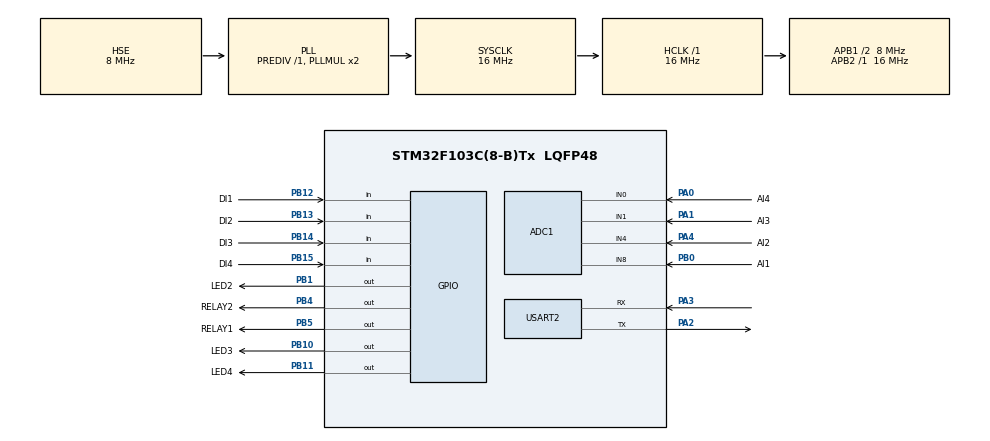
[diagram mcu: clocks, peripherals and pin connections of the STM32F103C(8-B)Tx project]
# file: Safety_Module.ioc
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ADC1.Channel-0\#ChannelRegularConversion=ADC_CHANNEL_0
ADC1.ContinuousConvMode=ENABLE
ADC1.NbrOfConversionFlag=1
ADC1.Rank-0\#ChannelRegularConversion=1
ADC1.SamplingTime-0\#ChannelRegularConversion=ADC_SAMPLETIME_1CYCLE_5
ADC1.master=1
Dma.ADC1.0.Direction=DMA_PERIPH_TO_MEMORY
Dma.ADC1.0.Instance=DMA1_Channel1
Dma.ADC1.0.MemDataAlignment=DMA_MDATAALIGN_HALFWORD
Dma.ADC1.0.MemInc=DMA_MINC_ENABLE
Dma.ADC1.0.Mode=DMA_CIRCULAR
Dma.ADC1.0.PeriphDataAlignment=DMA_PDATAALIGN_HALFWORD
Dma.ADC1.0.PeriphInc=DMA_PINC_DISABLE
Dma.ADC1.0.Priority=DMA_PRIORITY_HIGH
Dma.Request0=ADC1
FREERTOS.Tasks01=defaultTask,24,128,StartDefaultTask,Default,NULL,Dynamic,NULL,NULL;modbusTask,40,128,StartModbusTask,Default,NULL,Dynamic,NULL,NULL;ledTask,16,128,StartTask03,Default,NULL,Dynamic,NULL,NULL
Mcu.Family=STM32F1
Mcu.Name=STM32F103C(8-B)Tx
Mcu.Package=LQFP48
NVIC.DMA1_Channel1_IRQn=true\:5\:0\:false\:false\:true\:true\:false\:true\:true
NVIC.PriorityGroup=NVIC_PRIORITYGROUP_4
NVIC.RCC_IRQn=true\:5\:0\:false\:false\:true\:true\:true\:false\:true
NVIC.TIM2_IRQn=true\:5\:0\:false\:false\:true\:true\:true\:true\:true
NVIC.USART2_IRQn=true\:5\:0\:false\:false\:true\:true\:true\:true\:true
PA0-WKUP.GPIO_Label=AI4
PA0-WKUP.Signal=ADCx_IN0
PA1.GPIO_Label=AI3
PA1.Signal=ADCx_IN1
PA13.Mode=Serial_Wire
PA13.Signal=SYS_JTMS-SWDIO
PA14.Mode=Serial_Wire
PA14.Signal=SYS_JTCK-SWCLK
PA2.Mode=Asynchronous
PA2.Signal=USART2_TX
PA3.Mode=Asynchronous
PA3.Signal=USART2_RX
PA4.GPIO_Label=AI2
PA4.Signal=ADCx_IN4
PB0.GPIO_Label=AI1
PB0.Signal=ADCx_IN8
PB1.GPIO_Label=LED2
PB1.Signal=GPIO_Output
PB10.GPIO_Label=LED3
PB10.Signal=GPIO_Output
PB11.GPIO_Label=LED4
PB11.Signal=GPIO_Output
PB12.GPIO_Label=DI1
PB12.Signal=GPIO_Input
PB13.GPIO_Label=DI2
PB13.Signal=GPIO_Input
PB14.GPIO_Label=DI3
PB14.Signal=GPIO_Input
PB15.GPIO_Label=DI4
PB15.Signal=GPIO_Input
PB4.GPIO_Label=RELAY2
PB4.Signal=GPIO_Output
PB5.GPIO_Label=RELAY1
PB5.Signal=GPIO_Output
PD0-OSC_IN.Mode=HSE-External-Oscillator
PD0-OSC_IN.Signal=RCC_OSC_IN
PD1-OSC_OUT.Mode=HSE-External-Oscillator
PD1-OSC_OUT.Signal=RCC_OSC_OUT
ProjectManager.HeapSize=0x200
ProjectManager.StackSize=0x400
ProjectManager.TargetToolchain=STM32CubeIDE
RCC.AHBFreq_Value=16000000
RCC.APB1CLKDivider=RCC_HCLK_DIV2
RCC.APB1Freq_Value=8000000
RCC.APB1TimFreq_Value=16000000
RCC.APB2Freq_Value=16000000
RCC.APB2TimFreq_Value=16000000
RCC.HCLKFreq_Value=16000000
RCC.PLLSourceVirtual=RCC_PLLSOURCE_HSE
RCC.SYSCLKFreq_VALUE=16000000
RCC.SYSCLKSource=RCC_SYSCLKSOURCE_PLLCLK
RCC.USBFreq_Value=16000000
SH.ADCx_IN0.0=ADC1_IN0,IN0
SH.ADCx_IN1.0=ADC1_IN1,IN1
SH.ADCx_IN4.0=ADC1_IN4,IN4
SH.ADCx_IN8.0=ADC1_IN8,IN8
USART2.VirtualMode=VM_ASYNC
VP_FREERTOS_VS_CMSIS_V2.Mode=CMSIS_V2
VP_TIM2_VS_ClockSourceINT.Mode=Internal
board=custom

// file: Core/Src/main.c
/* USER CODE BEGIN Header */
/**
  ******************************************************************************
  * @file           : main.c
  * @brief          : Main program body
  ******************************************************************************
  * @attention
  *
  * Copyright (c) 2025 STMicroelectronics.
  * All rights reserved.
  *
  * This software is licensed under terms that can be found in the LICENSE file
  * in the root directory of this software component.
  * If no LICENSE file comes with this software, it is provided AS-IS.
  *
  ******************************************************************************
  */
/* USER CODE END Header */
#include "main.h"
#include "cmsis_os.h"

/* USER CODE BEGIN Includes */
#include "UartModbus.h"
#include "Safety_Monitor.h"
#include "ModbusMap.h"
/* USER CODE END Includes */

ADC_HandleTypeDef hadc1;
DMA_HandleTypeDef hdma_adc1;

TIM_HandleTypeDef htim2;

UART_HandleTypeDef huart2;
uint8_t current_baudrate = DEFAULT_CONFIG_BAUDRATE;
/* Definitions for defaultTask */
osThreadId_t defaultTaskHandle;
const osThreadAttr_t defaultTask_attributes = {
  .name = "defaultTask",
  .stack_size = 128 * 4,
  .priority = (osPriority_t) osPriorityNormal,
};
/* Definitions for modbusTask */
osThreadId_t modbusTaskHandle;
const osThreadAttr_t modbusTask_attributes = {
  .name = "modbusTask",
  .stack_size = 128 * 4,
  .priority = (osPriority_t) osPriorityHigh,
};
/* Definitions for ledTask */
osThreadId_t ledTaskHandle;
const osThreadAttr_t ledTask_attributes = {
  .name = "ledTask",
  .stack_size = 128 * 4,
  .priority = (osPriority_t) osPriorityBelowNormal,
};

void SystemClock_Config(void);
static void MX_GPIO_Init(void);
static void MX_DMA_Init(void);
static void MX_TIM2_Init(void);
static void MX_USART2_UART_Init(void);
static void MX_ADC1_Init(void);
void StartDefaultTask(void *argument);
void StartModbusTask(void *argument);
void StartTask03(void *argument);

int main(void)
{

  /* MCU Configuration--------------------------------------------------------*/

  /* Reset of all peripherals, Initializes the Flash interface and the Systick. */
  HAL_Init();

  /* Configure the system clock */
  SystemClock_Config();

  /* Initialize all configured peripherals */
  MX_GPIO_Init();
  MX_DMA_Init();
  MX_TIM2_Init();
  MX_USART2_UART_Init();
  MX_ADC1_Init();
  /* USER CODE BEGIN 2 */
  initializeModbusRegisters();
  Safety_Monitor_Init();
  /* USER CODE END 2 */

  /* Init scheduler */
  osKernelInitialize();

  /* Create the thread(s) */
  /* creation of defaultTask */
  defaultTaskHandle = osThreadNew(StartDefaultTask, NULL, &defaultTask_attributes);

  /* creation of modbusTask */
  modbusTaskHandle = osThreadNew(StartModbusTask, NULL, &modbusTask_attributes);

  /* creation of ledTask */
  ledTaskHandle = osThreadNew(StartTask03, NULL, &ledTask_attributes);

  /* Start scheduler */
  osKernelStart();

  /* We should never get here as control is now taken by the scheduler */

  /* Infinite loop */
  while (1)
  {

  }
}

void SystemClock_Config(void)
{
  RCC_OscInitTypeDef RCC_OscInitStruct = {0};
  RCC_ClkInitTypeDef RCC_ClkInitStruct = {0};
  RCC_PeriphCLKInitTypeDef PeriphClkInit = {0};

  /** Initializes the RCC Oscillators according to the specified parameters
  * in the RCC_OscInitTypeDef structure.
  */
  RCC_OscInitStruct.OscillatorType = RCC_OSCILLATORTYPE_HSE;
  RCC_OscInitStruct.HSEState = RCC_HSE_ON;
  RCC_OscInitStruct.HSEPredivValue = RCC_HSE_PREDIV_DIV1;
  RCC_OscInitStruct.HSIState = RCC_HSI_ON;
  RCC_OscInitStruct.PLL.PLLState = RCC_PLL_ON;
  RCC_OscInitStruct.PLL.PLLSource = RCC_PLLSOURCE_HSE;
  RCC_OscInitStruct.PLL.PLLMUL = RCC_PLL_MUL2;
  if (HAL_RCC_OscConfig(&RCC_OscInitStruct) != HAL_OK)
  {
    Error_Handler();
  }

  /** Initializes the CPU, AHB and APB buses clocks
  */
  RCC_ClkInitStruct.ClockType = RCC_CLOCKTYPE_HCLK|RCC_CLOCKTYPE_SYSCLK
                              |RCC_CLOCKTYPE_PCLK1|RCC_CLOCKTYPE_PCLK2;
  RCC_ClkInitStruct.SYSCLKSource = RCC_SYSCLKSOURCE_PLLCLK;
  RCC_ClkInitStruct.AHBCLKDivider = RCC_SYSCLK_DIV1;
  RCC_ClkInitStruct.APB1CLKDivider = RCC_HCLK_DIV2;
  RCC_ClkInitStruct.APB2CLKDivider = RCC_HCLK_DIV1;

  if (HAL_RCC_ClockConfig(&RCC_ClkInitStruct, FLASH_LATENCY_0) != HAL_OK)
  {
    Error_Handler();
  }
  PeriphClkInit.PeriphClockSelection = RCC_PERIPHCLK_ADC;
  PeriphClkInit.AdcClockSelection = RCC_ADCPCLK2_DIV2;
  if (HAL_RCCEx_PeriphCLKConfig(&PeriphClkInit) != HAL_OK)
  {
    Error_Handler();
  }
}

static void MX_ADC1_Init(void)
{

  ADC_ChannelConfTypeDef sConfig = {0};

  /** Common config
  */
  hadc1.Instance = ADC1;
  hadc1.Init.ScanConvMode = ADC_SCAN_ENABLE;
  hadc1.Init.ContinuousConvMode = ENABLE;
  hadc1.Init.DiscontinuousConvMode = DISABLE;
  hadc1.Init.ExternalTrigConv = ADC_SOFTWARE_START;
  hadc1.Init.DataAlign = ADC_DATAALIGN_RIGHT;
  hadc1.Init.NbrOfConversion = 4;
  if (HAL_ADC_Init(&hadc1) != HAL_OK)
  {
    Error_Handler();
  }

  /** Configure Regular Channel
  */

 /* USER CODE BEGIN ADC1_Init 2 */
 sConfig.SamplingTime = ADC_SAMPLETIME_55CYCLES_5;

 sConfig.Channel = ADC_CHANNEL_0;
 sConfig.Rank = ADC_REGULAR_RANK_1;
 HAL_ADC_ConfigChannel(&hadc1, &sConfig);

 sConfig.Channel = ADC_CHANNEL_1;
 sConfig.Rank = ADC_REGULAR_RANK_2;
 HAL_ADC_ConfigChannel(&hadc1, &sConfig);

 sConfig.Channel = ADC_CHANNEL_4;
 sConfig.Rank = ADC_REGULAR_RANK_3;
 HAL_ADC_ConfigChannel(&hadc1, &sConfig);

 sConfig.Channel = ADC_CHANNEL_8;
 sConfig.Rank = ADC_REGULAR_RANK_4;
 HAL_ADC_ConfigChannel(&hadc1, &sConfig);
 /* USER CODE END ADC1_Init 2 */

}

static void MX_TIM2_Init(void)
{

  TIM_ClockConfigTypeDef sClockSourceConfig = {0};
  TIM_MasterConfigTypeDef sMasterConfig = {0};

  htim2.Instance = TIM2;
  htim2.Init.Prescaler = 0;
  htim2.Init.CounterMode = TIM_COUNTERMODE_UP;
  htim2.Init.Period = 65535;
  htim2.Init.ClockDivision = TIM_CLOCKDIVISION_DIV1;
  htim2.Init.AutoReloadPreload = TIM_AUTORELOAD_PRELOAD_DISABLE;
  if (HAL_TIM_Base_Init(&htim2) != HAL_OK)
  {
    Error_Handler();
  }
  sClockSourceConfig.ClockSource = TIM_CLOCKSOURCE_INTERNAL;
  if (HAL_TIM_ConfigClockSource(&htim2, &sClockSourceConfig) != HAL_OK)
  {
    Error_Handler();
  }
  sMasterConfig.MasterOutputTrigger = TIM_TRGO_RESET;
  sMasterConfig.MasterSlaveMode = TIM_MASTERSLAVEMODE_DISABLE;
  if (HAL_TIMEx_MasterConfigSynchronization(&htim2, &sMasterConfig) != HAL_OK)
  {
    Error_Handler();
  }

}

static void MX_USART2_UART_Init(void)
{

  huart2.Instance = USART2;
  huart2.Init.BaudRate = 115200;
  huart2.Init.WordLength = UART_WORDLENGTH_8B;
  huart2.Init.StopBits = UART_STOPBITS_1;
  huart2.Init.Parity = UART_PARITY_NONE;
  huart2.Init.Mode = UART_MODE_TX_RX;
  huart2.Init.HwFlowCtl = UART_HWCONTROL_NONE;
  huart2.Init.OverSampling = UART_OVERSAMPLING_16;
  if (HAL_UART_Init(&huart2) != HAL_OK)
  {
    Error_Handler();
  }

}

static void MX_DMA_Init(void)
{

  /* DMA controller clock enable */
  __HAL_RCC_DMA1_CLK_ENABLE();

  /* DMA interrupt init */
  /* DMA1_Channel1_IRQn interrupt configuration */
  HAL_NVIC_SetPriority(DMA1_Channel1_IRQn, 5, 0);
  HAL_NVIC_EnableIRQ(DMA1_Channel1_IRQn);

}

static void MX_GPIO_Init(void)
{
  GPIO_InitTypeDef GPIO_InitStruct = {0};

  /* GPIO Ports Clock Enable */
  __HAL_RCC_GPIOC_CLK_ENABLE();
  __HAL_RCC_GPIOD_CLK_ENABLE();
  __HAL_RCC_GPIOA_CLK_ENABLE();
  __HAL_RCC_GPIOB_CLK_ENABLE();

  /*Configure GPIO pin Output Level */
  HAL_GPIO_WritePin(GPIOB, LED2_Pin|LED3_Pin|LED4_Pin|RELAY2_Pin
                          |RELAY1_Pin, GPIO_PIN_RESET);

  /*Configure GPIO pins : LED2_Pin LED3_Pin LED4_Pin RELAY2_Pin
                           RELAY1_Pin */
  GPIO_InitStruct.Pin = LED2_Pin|LED3_Pin|LED4_Pin|RELAY2_Pin
                          |RELAY1_Pin;
  GPIO_InitStruct.Mode = GPIO_MODE_OUTPUT_PP;
  GPIO_InitStruct.Pull = GPIO_NOPULL;
  GPIO_InitStruct.Speed = GPIO_SPEED_FREQ_LOW;
  HAL_GPIO_Init(GPIOB, &GPIO_InitStruct);

  /*Configure GPIO pins : DI1_Pin DI2_Pin DI3_Pin DI4_Pin */
  GPIO_InitStruct.Pin = DI1_Pin|DI2_Pin|DI3_Pin|DI4_Pin;
  GPIO_InitStruct.Mode = GPIO_MODE_INPUT;
  GPIO_InitStruct.Pull = GPIO_NOPULL;
  HAL_GPIO_Init(GPIOB, &GPIO_InitStruct);

}

void StartDefaultTask(void *argument)
{
  uint32_t previousTick = osKernelGetTickCount();
  uint16_t SYS_BASE_ADDR = 0X0100;
  /* USER CODE BEGIN 5 */
  /* Infinite loop */
  for(;;)
  {
    SystemRegisters_Load(&system, SYS_BASE_ADDR);
    Safety_Register_Load();
    updateBaudrate();
    Safety_Monitor_Process();
    SystemRegisters_Save(&system, SYS_BASE_ADDR);
    Safety_Register_Save();
    osDelayUntil(previousTick += 20);
  }
  /* USER CODE END 5 */
}

void StartModbusTask(void *argument)
{
	/* USER CODE BEGIN Header_StartModbusTask */
   uint32_t charTime = (11 * 1000) / huart2.Init.BaudRate; // 11 bit per char (8N1 + start/stop)
   uint32_t frameTimeout = charTime * 4; // 3.5 char time for Modbus RTU
   uint32_t previousTick = osKernelGetTickCount();
   if (frameTimeout < 5) frameTimeout = 5; // Tối thiểu 5ms

   // Khởi tạo biến monitoring
   g_lastUARTActivity = HAL_GetTick();
   last_health_check = g_lastUARTActivity;

   for(;;) {
     g_modbusCounter++;

     // Xử lý frame đã nhận đủ
     if (frameReceived) {
         processModbusFrame();
     }

     // Kiểm tra timeout cho frame chưa hoàn chỉnh
     // Nếu có dữ liệu trong buffer nhưng chưa đủ frame và đã timeout
     if (!frameReceived && rxIndex > 0 && (HAL_GetTick() - g_lastUARTActivity > frameTimeout)) {
         // Frame không hoàn chỉnh và đã timeout - bỏ qua và reset
         rxIndex = 0;
         frameReceived = 0;
         g_corruptionCount++;
     }

     // Kiểm tra sức khỏe UART định kỳ
     checkUARTHealth();

     // Delay 1ms
     osDelayUntil(previousTick += 20);
  }
}
/* USER CODE END Header_StartModbusTask */

/* USER CODE END Header_StartTask03 */
void StartTask03(void *argument)
{
  uint32_t previousTick = osKernelGetTickCount();
  for(;;)
  {
    HAL_GPIO_TogglePin(GPIOB, LED4_Pin);
    if(g_ledIndicator == 1)
    {
      HAL_GPIO_TogglePin(GPIOB, LED3_Pin);
      g_ledIndicator = 0;
    }
    if(system_status == SAFETY_MONITOR_CRITICAL) {
      HAL_GPIO_WritePin(RELAY1_GPIO_Port, RELAY1_Pin, GPIO_PIN_SET);
      HAL_GPIO_WritePin(LED2_GPIO_Port, LED2_Pin, GPIO_PIN_SET);

    }
    else if(system_status == SAFETY_MONITOR_OK
        && g_holdingRegisters[REG_RESET_FLAG] == 0) {
        HAL_GPIO_WritePin(RELAY1_GPIO_Port, RELAY1_Pin, GPIO_PIN_RESET);
        HAL_GPIO_WritePin(LED2_GPIO_Port, LED2_Pin, GPIO_PIN_RESET);
    }
    osDelayUntil(previousTick += 250);
  }
  /* USER CODE END StartTask03 */
>>>>>>> change-distance-sensor-logic
}

void Error_Handler(void)
{
  __disable_irq();
  while (1)
  {
  }
}
